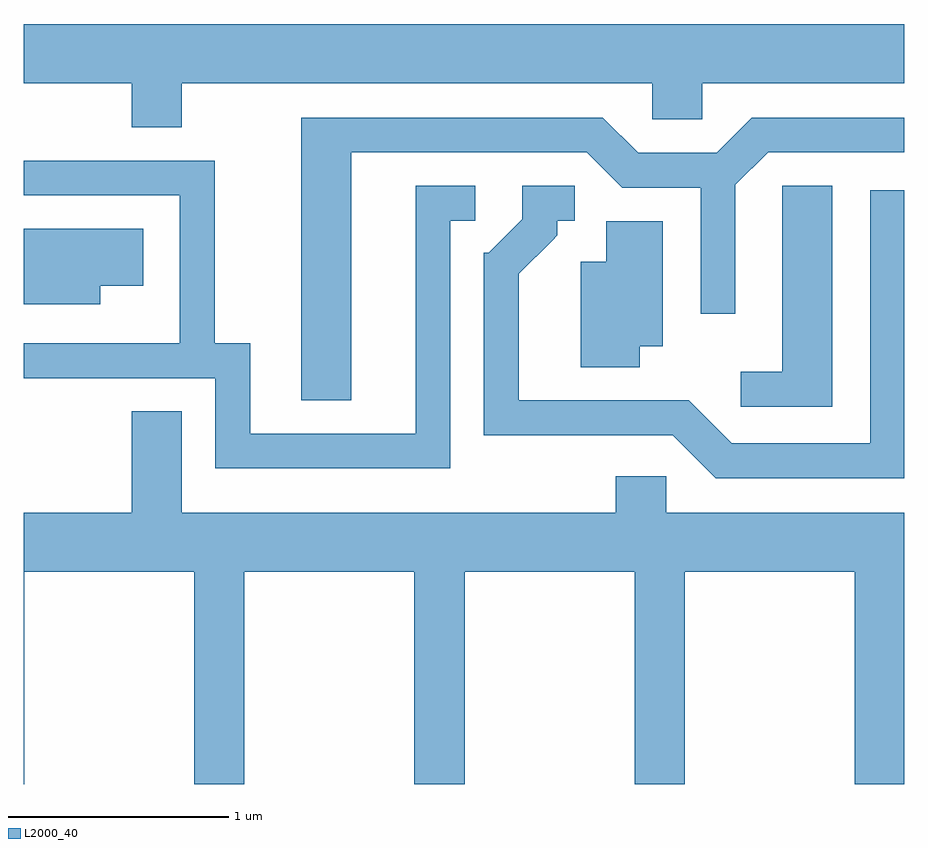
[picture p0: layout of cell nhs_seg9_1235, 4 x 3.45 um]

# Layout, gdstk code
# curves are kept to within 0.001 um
import gdstk
lib = gdstk.Library(unit=1e-6, precision=1e-09)
def P(c, l, *ps):  # polygons
    for p in ps: c.add(gdstk.Polygon(p, *l))
L2000_40 = (2000, 40)

nhs_seg9_1235 = lib.new_cell('nhs_seg9_1235')
P(nhs_seg9_1235, L2000_40, [(222.329,1969.616),(224.466,1969.616),(224.466,1969.451),(224.694,1969.451),(224.694,1969.616),(225.611,1969.616),(225.611,1969.884),(221.611,1969.884),(221.611,1969.616),(222.101,1969.616),(222.101,1969.416),(222.329,1969.416)],
  [(223.099,1969.301),(224.169,1969.301),(224.329,1969.141),(224.686,1969.141),(224.686,1968.568),(224.844,1968.568),(224.844,1969.154),(224.992,1969.301),(225.611,1969.301),(225.611,1969.459),(224.919,1969.459),(224.759,1969.299),(224.402,1969.299),(224.242,1969.459),(222.871,1969.459),(222.871,1968.176),(223.099,1968.176)],
  [(223.549,1968.991),(223.663,1968.991),(223.663,1969.149),(223.391,1969.149),(223.391,1968.024),(222.639,1968.024),(222.639,1968.434),(222.479,1968.434),(222.479,1969.264),(221.611,1969.264),(221.611,1969.106),(222.321,1969.106),(222.321,1968.434),(221.611,1968.434),(221.611,1968.276),(222.481,1968.276),(222.481,1967.866),(223.549,1967.866)],
  [(225.611,1969.129),(225.456,1969.129),(225.456,1967.979),(224.827,1967.979),(224.632,1968.174),(223.859,1968.174),(223.859,1968.749),(224.034,1968.924),(224.034,1968.991),(224.113,1968.991),(224.113,1969.149),(223.876,1969.149),(223.876,1968.997),(223.724,1968.844),(223.701,1968.844),(223.701,1968.016),(224.559,1968.016),(224.754,1967.821),(225.611,1967.821)],
  [(225.284,1969.149),(225.056,1969.149),(225.056,1968.304),(224.868,1968.304),(224.868,1968.146),(225.284,1968.146)],
  [(224.409,1968.421),(224.514,1968.421),(224.514,1968.989),(224.256,1968.989),(224.256,1968.804),(224.141,1968.804),(224.141,1968.326),(224.409,1968.326)],
  [(221.959,1968.696),(222.154,1968.696),(222.154,1968.954),(221.611,1968.954),(221.611,1968.611),(221.959,1968.611)],
  [(221.614,1967.396),(222.386,1967.396),(222.386,1966.432),(222.614,1966.432),(222.614,1967.396),(223.386,1967.396),(223.386,1966.432),(223.614,1966.432),(223.614,1967.396),(224.386,1967.396),(224.386,1966.432),(224.614,1966.432),(224.614,1967.396),(225.386,1967.396),(225.386,1966.432),(225.611,1966.432),(225.611,1967.664),(224.529,1967.664),(224.529,1967.829),(224.301,1967.829),(224.301,1967.664),(222.329,1967.664),(222.329,1968.124),(222.101,1968.124),(222.101,1967.664),(221.611,1967.664),(221.611,1966.432),(221.614,1966.432)])

lib.write_gds('nhs_seg9_1235.gds')
